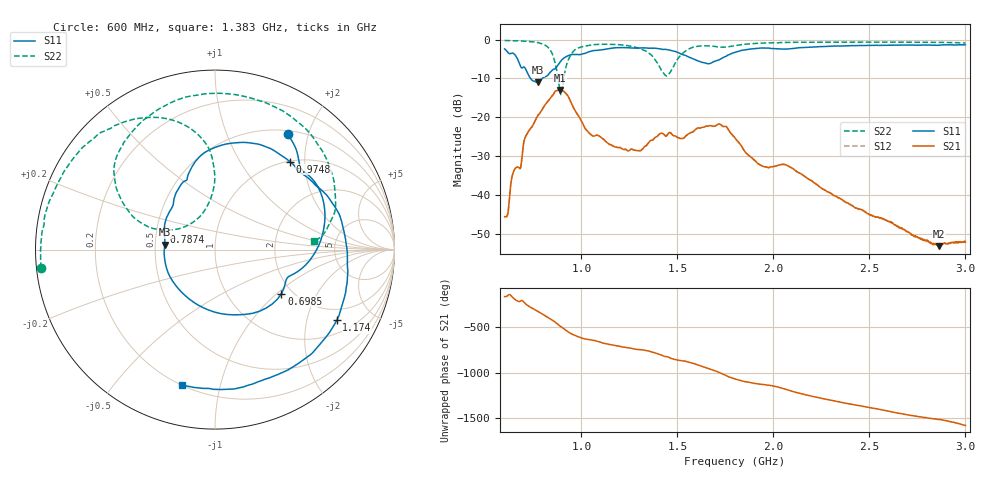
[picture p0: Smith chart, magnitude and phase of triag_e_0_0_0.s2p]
#  HZ  S  RI  R  50.00
! Rohde & Schwarz ZVB8 2Ports - Version 2.81 - 1145.1010k08 SN: 100113
! Date: 2016-05-03 01:37:14
! Measurements: S11 S21 S12 S22
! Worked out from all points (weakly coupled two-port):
!   1000 points, 600 MHz to 3 GHz, reference 50 ohm
!   highest |S21| = -12.94 dB at 888.3 MHz (marker M1); lowest = -53.2 dB at 2.863 GHz (marker M2)
!   lowest |S11| = -11.0 dB at 773 MHz (marker M3), VSWR 1.78, Z = 28.1 + j1.63 ohm
!   |S11| at or under -10 dB: 734.8 MHz to 795.7 MHz (60.91 MHz wide, 7.96 % of centre)
!   |S22| runs from -14.2 to -0.2 dB; largest |S21 - S12| = 0.0015
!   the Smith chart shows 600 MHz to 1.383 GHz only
!   S11 on the Smith chart (normalised r, x): 600 MHz: 0.55, +1.68; 698.5 MHz: 1.76, -1.07; 787.4 MHz: 0.55, +0.12; 974.8 MHz: 1.01, +1.69; 1.174 GHz: 1.49, -3.05; 1.383 GHz: 0.20, -0.76
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6e8  0.4051 0.6422  -0.0051 -0.00123  -0.00509 -0.00122  -0.9693 -0.1026
6.552553e8  0.6113 0.1541  -0.0208 0.00696  -0.0208 0.00681  -0.952 0.1469
6.984985e8  0.3703 -0.2454  -0.0342 0.0301  -0.0338 0.0305  -0.8923 0.3346
7.72973e8  -0.2796 0.0267  0.0899 0.0542  0.0899 0.0556  -0.6623 0.6326
7.873874e8  -0.2829 0.1014  0.1133 0.0272  0.1122 0.0279  -0.5817 0.6751
8.402402e8  -0.2142 0.321  0.1067 -0.1429  0.1069 -0.1423  -0.1731 0.6958
8.882883e8  -0.1005 0.5012  -0.1353 -0.1801  -0.1342 -0.1806  -0.0641 0.2083
9.747748e8  0.4181 0.4902  -0.0598 0.096  -0.0601 0.0955  -0.5384 0.5401
1.001201e9  0.5004 0.4132  -0.0162 0.0873  -0.0166 0.087  -0.4563 0.6626
1.174174e9  0.6783 -0.3931  0.0393 0.0136  0.0391 0.0137  0.2792 0.8196
1.296697e9  0.2096 -0.749  0.0334 -0.0165  0.0334 -0.0163  0.6508 0.4252
1.383183e9  -0.1865 -0.7521  0.0254 -0.0485  0.0253 -0.0485  0.5495 0.0457
1.4e9  -0.2573 -0.7209  0.0172 -0.056  0.0174 -0.0558  0.4823 0.0186
1.517718e9  -0.5485 -0.3575  -0.045 -0.0285  -0.0448 -0.0286  0.5662 0.2804
1.613814e9  -0.5084 -0.1383  -0.068 0.0256  -0.068 0.0254  0.8157 -0.1123
1.801201e9  -0.6811 0.0859  0.0526 0.00974  0.0522 0.00992  0.5208 -0.6533
1.981381e9  -0.3899 0.6665  0.0116 -0.0195  0.0118 -0.0193  -0.00371 -0.9057
2.2e9  0.3423 0.7239  -0.0152 -0.00063  -0.0152 -0.000648  -0.5993 -0.7038
2.409009e9  0.8338 0.0567  -0.00042 0.00728  -0.000395 0.0073  -0.8889 -0.265
2.601201e9  0.5247 -0.6648  0.0043 0.0014  0.00431 0.00135  -0.9111 0.1755
2.863063e9  -0.4198 -0.7364  0.000688 -0.00209  0.000665 -0.0021  -0.6106 0.6894
3e9  -0.7537 -0.4053  -0.00184 -0.00165  -0.00186 -0.00173  -0.3304 0.842
